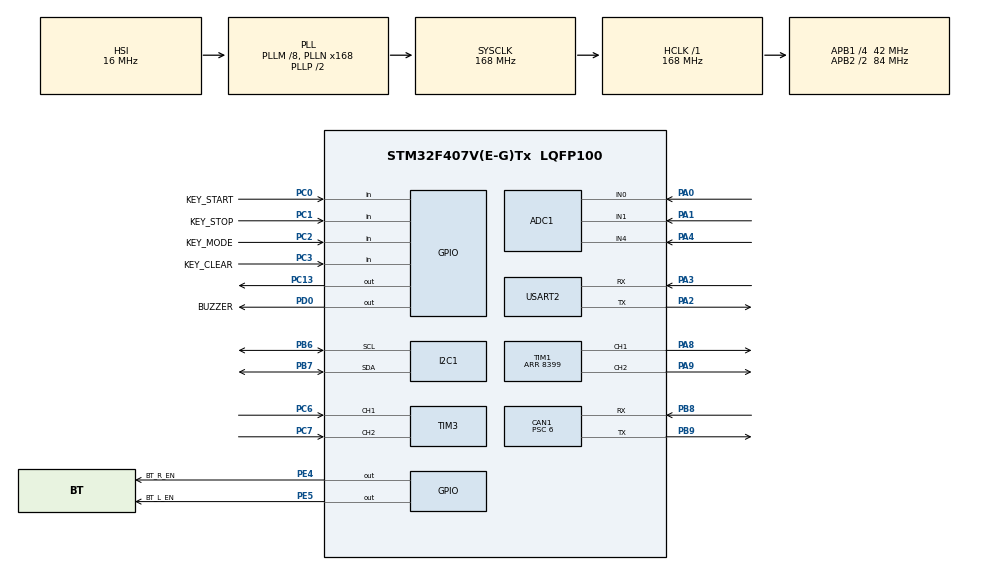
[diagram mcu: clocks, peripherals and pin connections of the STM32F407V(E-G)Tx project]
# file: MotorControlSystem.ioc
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ADC1.Channel-0\#ChannelRegularConversion=ADC_CHANNEL_0
ADC1.Channel-1\#ChannelRegularConversion=ADC_CHANNEL_1
ADC1.Channel-2\#ChannelRegularConversion=ADC_CHANNEL_4
ADC1.ContinuousConvMode=ENABLE
ADC1.DMAContinuousRequests=ENABLE
ADC1.NbrOfConversion=3
ADC1.NbrOfConversionFlag=1
ADC1.Rank-0\#ChannelRegularConversion=1
ADC1.Rank-1\#ChannelRegularConversion=2
ADC1.Rank-2\#ChannelRegularConversion=3
ADC1.SamplingTime-0\#ChannelRegularConversion=ADC_SAMPLETIME_84CYCLES
ADC1.SamplingTime-1\#ChannelRegularConversion=ADC_SAMPLETIME_84CYCLES
ADC1.SamplingTime-2\#ChannelRegularConversion=ADC_SAMPLETIME_84CYCLES
ADC1.ScanConvMode=ENABLE
ADC1.master=1
CAN1.ABOM=ENABLE
CAN1.BS1=CAN_BS1_11TQ
CAN1.BS2=CAN_BS2_2TQ
CAN1.CalculateBaudRate=500000
CAN1.CalculateTimeBit=2000
CAN1.CalculateTimeQuantum=142.85714285714286
CAN1.Mode=CAN_MODE_LOOPBACK
CAN1.NART=ENABLE
CAN1.Prescaler=6
Dma.ADC1.0.Direction=DMA_PERIPH_TO_MEMORY
Dma.ADC1.0.FIFOMode=DMA_FIFOMODE_ENABLE
Dma.ADC1.0.FIFOThreshold=DMA_FIFO_THRESHOLD_FULL
Dma.ADC1.0.Instance=DMA2_Stream0
Dma.ADC1.0.MemBurst=DMA_MBURST_SINGLE
Dma.ADC1.0.MemDataAlignment=DMA_MDATAALIGN_HALFWORD
Dma.ADC1.0.MemInc=DMA_MINC_ENABLE
Dma.ADC1.0.Mode=DMA_CIRCULAR
Dma.ADC1.0.PeriphBurst=DMA_PBURST_SINGLE
Dma.ADC1.0.PeriphDataAlignment=DMA_PDATAALIGN_HALFWORD
Dma.ADC1.0.PeriphInc=DMA_PINC_DISABLE
Dma.ADC1.0.Priority=DMA_PRIORITY_LOW
Dma.Request0=ADC1
Dma.Request1=USART2_RX
Dma.USART2_RX.1.Direction=DMA_PERIPH_TO_MEMORY
Dma.USART2_RX.1.FIFOMode=DMA_FIFOMODE_DISABLE
Dma.USART2_RX.1.Instance=DMA1_Stream5
Dma.USART2_RX.1.MemDataAlignment=DMA_MDATAALIGN_BYTE
Dma.USART2_RX.1.MemInc=DMA_MINC_ENABLE
Dma.USART2_RX.1.Mode=DMA_CIRCULAR
Dma.USART2_RX.1.PeriphDataAlignment=DMA_PDATAALIGN_BYTE
Dma.USART2_RX.1.PeriphInc=DMA_PINC_DISABLE
Dma.USART2_RX.1.Priority=DMA_PRIORITY_LOW
FREERTOS.Tasks01=MotorTask,40,512,StartMotorTask,Default,NULL,Dynamic,NULL,NULL;SensorTask,24,512,StartSensorTask,Default,NULL,Dynamic,NULL,NULL;CommTask,24,512,StartCommTask,Default,NULL,Dynamic,NULL,NULL;FaultTask,40,512,StartFaultTask,Default,NULL,Dynamic,NULL,NULL;DisplayTask,8,512,StartDisplayTask,Default,NULL,Dynamic,NULL,NULL;KeyTask,24,256,StartKeyTask,Default,NULL,Dynamic,NULL,NULL
FREERTOS.configUSE_PREEMPTION=1
I2C1.I2C_Mode=I2C_Fast
Mcu.Family=STM32F4
Mcu.Name=STM32F407V(E-G)Tx
Mcu.Package=LQFP100
NVIC.CAN1_RX0_IRQn=true\:5\:0\:false\:false\:true\:true\:true\:true\:true
NVIC.DMA1_Stream5_IRQn=true\:5\:0\:false\:false\:true\:true\:false\:true\:true
NVIC.DMA2_Stream0_IRQn=true\:5\:0\:false\:false\:true\:true\:false\:true\:true
NVIC.PriorityGroup=NVIC_PRIORITYGROUP_4
NVIC.TIM6_DAC_IRQn=true\:15\:0\:false\:false\:true\:false\:false\:true\:true
NVIC.TimeBase=TIM6_DAC_IRQn
NVIC.TimeBaseIP=TIM6
NVIC.USART2_IRQn=true\:5\:0\:false\:false\:true\:true\:true\:true\:true
PA0-WKUP.Signal=ADCx_IN0
PA1.Signal=ADCx_IN1
PA13.Mode=Serial_Wire
PA13.Signal=SYS_JTMS-SWDIO
PA14.Mode=Serial_Wire
PA14.Signal=SYS_JTCK-SWCLK
PA2.Mode=Asynchronous
PA2.Signal=USART2_TX
PA3.Mode=Asynchronous
PA3.Signal=USART2_RX
PA4.Signal=ADCx_IN4
PA8.Signal=S_TIM1_CH1
PA9.Signal=S_TIM1_CH2
PB6.Mode=I2C
PB6.Signal=I2C1_SCL
PB7.Mode=I2C
PB7.Signal=I2C1_SDA
PB8.Mode=CAN_Activate
PB8.Signal=CAN1_RX
PB9.Mode=CAN_Activate
PB9.Signal=CAN1_TX
PC0.GPIO_Label=KEY_START
PC0.GPIO_PuPd=GPIO_PULLUP
PC0.Signal=GPIO_Input
PC1.GPIO_Label=KEY_STOP 
PC1.GPIO_PuPd=GPIO_PULLUP
PC1.Signal=GPIO_Input
PC13-ANTI_TAMP.GPIO_PuPd=GPIO_NOPULL
PC13-ANTI_TAMP.Signal=GPIO_Output
PC2.GPIO_Label=KEY_MODE
PC2.GPIO_PuPd=GPIO_PULLUP
PC2.Signal=GPIO_Input
PC3.GPIO_Label=KEY_CLEAR
PC3.GPIO_PuPd=GPIO_PULLUP
PC3.Signal=GPIO_Input
PC6.GPIO_Speed=GPIO_SPEED_FREQ_HIGH
PC6.Signal=S_TIM3_CH1
PC7.GPIO_Speed=GPIO_SPEED_FREQ_HIGH
PC7.Signal=S_TIM3_CH2
PD0.GPIO_Label=BUZZER
PD0.PinState=GPIO_PIN_SET
PD0.Signal=GPIO_Output
PE4.GPIO_Label=BT_R_EN
PE4.Signal=GPIO_Output
PE5.GPIO_Label=BT_L_EN
PE5.Signal=GPIO_Output
PH0-OSC_IN.Mode=HSE-External-Oscillator
PH0-OSC_IN.Signal=RCC_OSC_IN
PH1-OSC_OUT.Mode=HSE-External-Oscillator
PH1-OSC_OUT.Signal=RCC_OSC_OUT
ProjectManager.HeapSize=0x200
ProjectManager.StackSize=0x400
ProjectManager.TargetToolchain=MDK-ARM V5.32
RCC.48MHZClocksFreq_Value=84000000
RCC.AHBFreq_Value=168000000
RCC.APB1CLKDivider=RCC_HCLK_DIV4
RCC.APB1Freq_Value=42000000
RCC.APB1TimFreq_Value=84000000
RCC.APB2CLKDivider=RCC_HCLK_DIV2
RCC.APB2Freq_Value=84000000
RCC.APB2TimFreq_Value=168000000
RCC.CortexFreq_Value=168000000
RCC.HCLKFreq_Value=168000000
RCC.HSE_VALUE=25000000
RCC.HSI_VALUE=16000000
RCC.LSE_VALUE=32768
RCC.PLLM=8
RCC.PLLN=168
RCC.SYSCLKFreq_VALUE=168000000
RCC.SYSCLKSource=RCC_SYSCLKSOURCE_PLLCLK
RCC.VCOOutputFreq_Value=336000000
SH.ADCx_IN0.0=ADC1_IN0,IN0
SH.ADCx_IN1.0=ADC1_IN1,IN1
SH.ADCx_IN4.0=ADC1_IN4,IN4
SH.S_TIM1_CH1.0=TIM1_CH1,PWM Generation1 CH1
SH.S_TIM1_CH2.0=TIM1_CH2,PWM Generation2 CH2
SH.S_TIM3_CH1.0=TIM3_CH1,Encoder_Interface
SH.S_TIM3_CH2.0=TIM3_CH2,Encoder_Interface
TIM1.AutoReloadPreload=TIM_AUTORELOAD_PRELOAD_ENABLE
TIM1.Channel-PWM\ Generation1\ CH1=TIM_CHANNEL_1
TIM1.Channel-PWM\ Generation2\ CH2=TIM_CHANNEL_2
TIM1.Period=8399
TIM3.AutoReloadPreload=TIM_AUTORELOAD_PRELOAD_ENABLE
TIM3.EncoderMode=TIM_ENCODERMODE_TI12
USART2.VirtualMode=VM_ASYNC
VP_FREERTOS_VS_CMSIS_V2.Mode=CMSIS_V2
VP_SYS_VS_tim6.Mode=TIM6
board=custom

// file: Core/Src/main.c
/* USER CODE BEGIN Header */
/**
  ******************************************************************************
  * @file           : main.c
  * @brief          : Main program body
  ******************************************************************************
  * @attention
  *
  * Copyright (c) 2026 STMicroelectronics.
  * All rights reserved.
  *
  * This software is licensed under terms that can be found in the LICENSE file
  * in the root directory of this software component.
  * If no LICENSE file comes with this software, it is provided AS-IS.
  *
  ******************************************************************************
  */
/* USER CODE END Header */
#include "main.h"
#include "cmsis_os.h"
#include "adc.h"
#include "can.h"
#include "dma.h"
#include "i2c.h"
#include "tim.h"
#include "usart.h"
#include "gpio.h"

/* USER CODE BEGIN Includes */
	extern volatile int16_t encoder_count;
/* USER CODE END Includes */

/* USER CODE BEGIN PV */
	volatile int16_t encoder_cnt = 0;
	volatile int16_t encoder_count = 0;
/* USER CODE END PV */

void SystemClock_Config(void);
void MX_FREERTOS_Init(void);

int main(void)
{

  /* MCU Configuration--------------------------------------------------------*/

  /* Reset of all peripherals, Initializes the Flash interface and the Systick. */
  HAL_Init();

  /* Configure the system clock */
  SystemClock_Config();

  /* Initialize all configured peripherals */
  MX_GPIO_Init();
  MX_DMA_Init();
  MX_ADC1_Init();
  MX_TIM1_Init();
  MX_TIM3_Init();
  MX_USART2_UART_Init();
  MX_CAN1_Init();
  MX_I2C1_Init();
  /* USER CODE BEGIN 2 */
	HAL_TIM_PWM_Start(&htim1, TIM_CHANNEL_1);
	HAL_TIM_PWM_Start(&htim1, TIM_CHANNEL_2);

	HAL_TIM_Encoder_Start(&htim3, TIM_CHANNEL_ALL);

	__HAL_TIM_SET_COUNTER(&htim3, 0);

	HAL_GPIO_WritePin(GPIOE, GPIO_PIN_4, GPIO_PIN_SET);
	HAL_GPIO_WritePin(GPIOE, GPIO_PIN_5, GPIO_PIN_SET);

	__HAL_TIM_SET_COMPARE(&htim1, TIM_CHANNEL_1, 0);
	__HAL_TIM_SET_COMPARE(&htim1, TIM_CHANNEL_2, 0);

	uint8_t test_msg[] = "MAIN USART2 TEST\r\n";

	HAL_UART_Transmit(&huart2,
										test_msg,
										sizeof(test_msg) - 1,
										1000);

  /* USER CODE END 2 */

  /* Init scheduler */
  osKernelInitialize();  /* Call init function for freertos objects (in cmsis_os2.c) */
  MX_FREERTOS_Init();

  /* Start scheduler */
  osKernelStart();

  /* We should never get here as control is now taken by the scheduler */

  /* Infinite loop */
  while (1)
  {

  }
}

void SystemClock_Config(void)
{
  RCC_OscInitTypeDef RCC_OscInitStruct = {0};
  RCC_ClkInitTypeDef RCC_ClkInitStruct = {0};

  /** Configure the main internal regulator output voltage
  */
  __HAL_RCC_PWR_CLK_ENABLE();
  __HAL_PWR_VOLTAGESCALING_CONFIG(PWR_REGULATOR_VOLTAGE_SCALE1);

  /** Initializes the RCC Oscillators according to the specified parameters
  * in the RCC_OscInitTypeDef structure.
  */
  RCC_OscInitStruct.OscillatorType = RCC_OSCILLATORTYPE_HSI;
  RCC_OscInitStruct.HSIState = RCC_HSI_ON;
  RCC_OscInitStruct.HSICalibrationValue = RCC_HSICALIBRATION_DEFAULT;
  RCC_OscInitStruct.PLL.PLLState = RCC_PLL_ON;
  RCC_OscInitStruct.PLL.PLLSource = RCC_PLLSOURCE_HSI;
  RCC_OscInitStruct.PLL.PLLM = 8;
  RCC_OscInitStruct.PLL.PLLN = 168;
  RCC_OscInitStruct.PLL.PLLP = RCC_PLLP_DIV2;
  RCC_OscInitStruct.PLL.PLLQ = 4;
  if (HAL_RCC_OscConfig(&RCC_OscInitStruct) != HAL_OK)
  {
    Error_Handler();
  }

  /** Initializes the CPU, AHB and APB buses clocks
  */
  RCC_ClkInitStruct.ClockType = RCC_CLOCKTYPE_HCLK|RCC_CLOCKTYPE_SYSCLK
                              |RCC_CLOCKTYPE_PCLK1|RCC_CLOCKTYPE_PCLK2;
  RCC_ClkInitStruct.SYSCLKSource = RCC_SYSCLKSOURCE_PLLCLK;
  RCC_ClkInitStruct.AHBCLKDivider = RCC_SYSCLK_DIV1;
  RCC_ClkInitStruct.APB1CLKDivider = RCC_HCLK_DIV4;
  RCC_ClkInitStruct.APB2CLKDivider = RCC_HCLK_DIV2;

  if (HAL_RCC_ClockConfig(&RCC_ClkInitStruct, FLASH_LATENCY_5) != HAL_OK)
  {
    Error_Handler();
  }
}

void HAL_TIM_PeriodElapsedCallback(TIM_HandleTypeDef *htim)
{
  if (htim->Instance == TIM6)
  {
    HAL_IncTick();
  }
}

void Error_Handler(void)
{
  __disable_irq();
  while (1)
  {
  }
}

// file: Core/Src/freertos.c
/* USER CODE BEGIN Header */
/**
  ******************************************************************************
  * 文件名             : freertos.c
  * 描述               : FreeRTOS 应用程序代码
  ******************************************************************************
  */
/* USER CODE END Header */

/* 包含头文件 ----------------------------------------------------------------*/
#include "FreeRTOS.h"
#include "task.h"
#include "main.h"
#include "cmsis_os.h"

/* 私有包含头文件 ------------------------------------------------------------*/
/* USER CODE BEGIN Includes */

#include "usart.h"

#include "flash_config.h"
#include "motor_status.h"
#include "motor_control.h"
#include "pi_controller.h"
#include "fault_manager.h"
#include "sensor_manager.h"
#include "can_manager.h"
#include "display_manager.h"
#include "encoder_manager.h"
#include "uart_manager.h"
#include "freertos_monitor.h"

#include "key_manager.h"
#include "buzzer_manager.h"

#include <stdio.h>
#include <string.h>

/* USER CODE END Includes */

/* 私有类型定义 --------------------------------------------------------------*/

/* 私有宏定义 ----------------------------------------------------------------*/

/* 私有宏 --------------------------------------------------------------------*/

/* 私有变量 ------------------------------------------------------------------*/
/* USER CODE BEGIN Variables */

extern UART_HandleTypeDef huart2;

PIController_t motor_pi;
MotorConfig_t motor_config;

/* USER CODE END Variables */

/* MotorTask 定义 */
osThreadId_t MotorTaskHandle;

const osThreadAttr_t MotorTask_attributes = {
  .name = "MotorTask",
  .stack_size = 512 * 4,
  .priority = (osPriority_t) osPriorityHigh,
};

/* SensorTask 定义 */
osThreadId_t SensorTaskHandle;

const osThreadAttr_t SensorTask_attributes = {
  .name = "SensorTask",
  .stack_size = 512 * 4,
  .priority = (osPriority_t) osPriorityNormal,
};

/* CommTask 定义 */
osThreadId_t CommTaskHandle;

const osThreadAttr_t CommTask_attributes = {
  .name = "CommTask",
  .stack_size = 768 * 4,
  .priority = (osPriority_t) osPriorityNormal,
};

/* FaultTask 定义 */
osThreadId_t FaultTaskHandle;

const osThreadAttr_t FaultTask_attributes = {
  .name = "FaultTask",
  .stack_size = 512 * 4,
  .priority = (osPriority_t) osPriorityHigh,
};

/* DisplayTask 定义 */
osThreadId_t DisplayTaskHandle;

const osThreadAttr_t DisplayTask_attributes = {
  .name = "DisplayTask",
  .stack_size = 512 * 4,
  .priority = (osPriority_t) osPriorityLow,
};

/* KeyTask 定义 */
osThreadId_t KeyTaskHandle;

const osThreadAttr_t KeyTask_attributes = {
  .name = "KeyTask",
  .stack_size = 256 * 4,
  .priority = (osPriority_t) osPriorityNormal,
};

/* 私有函数原型 --------------------------------------------------------------*/

void StartMotorTask(void *argument);
void StartSensorTask(void *argument);
void StartCommTask(void *argument);
void StartFaultTask(void *argument);
void StartDisplayTask(void *argument);
void StartKeyTask(void *argument);

void MX_FREERTOS_Init(void);

/**
  * @brief  FreeRTOS 初始化
  * @param  无
  * @retval 无
  */
void MX_FREERTOS_Init(void)
{

  /* USER CODE BEGIN RTOS_MUTEX */
  /* 添加互斥量等 */
  /* USER CODE END RTOS_MUTEX */

  /* USER CODE BEGIN RTOS_SEMAPHORES */
  /* 添加信号量等 */
  /* USER CODE END RTOS_SEMAPHORES */

  /* USER CODE BEGIN RTOS_TIMERS */
  /* 启动定时器、添加定时器等 */
  /* USER CODE END RTOS_TIMERS */

  /* USER CODE BEGIN RTOS_QUEUES */
  /* 添加队列等 */
  /* USER CODE END RTOS_QUEUES */

  /* 创建线程 */

  /* MotorTask */
  MotorTaskHandle =
      osThreadNew(StartMotorTask,
                  NULL,
                  &MotorTask_attributes);

  /* SensorTask */
  SensorTaskHandle =
      osThreadNew(StartSensorTask,
                  NULL,
                  &SensorTask_attributes);

  /* CommTask */
  CommTaskHandle =
      osThreadNew(StartCommTask,
                  NULL,
                  &CommTask_attributes);

  /* FaultTask */
  FaultTaskHandle =
      osThreadNew(StartFaultTask,
                  NULL,
                  &FaultTask_attributes);

  /* DisplayTask */
  DisplayTaskHandle =
      osThreadNew(StartDisplayTask,
                  NULL,
                  &DisplayTask_attributes);

  /* KeyTask */
  KeyTaskHandle =
      osThreadNew(StartKeyTask,
                  NULL,
                  &KeyTask_attributes);

  /* USER CODE BEGIN RTOS_THREADS */
  /* 添加线程等 */
  /* USER CODE END RTOS_THREADS */

  /* USER CODE BEGIN RTOS_EVENTS */
  /* 添加事件等 */
  /* USER CODE END RTOS_EVENTS */
}

/* USER CODE BEGIN Header_StartMotorTask */
/**
  * @brief 实现 MotorTask 线程的函数
  */
/* USER CODE END Header */

void StartMotorTask(void *argument)
{
  /* USER CODE BEGIN StartMotorTask */

  PI_Controller_Init(
      &motor_pi,
      20.0f,
      0.3f,
      2000.0f,
      4200.0f,
      -1000.0f,
      1000.0f
  );

  MotorControl_Init();

  motor_status.pwm = 0;

  for (;;)
  {
    /*
     * 有故障：
     * 立即停止电机
     */
    if (motor_status.fault != FAULT_NONE)
    {
      MotorControl_Stop();

      motor_status.pwm = 0;

      PI_Controller_Reset(&motor_pi);

      osDelay(100);

      continue;
    }

    /*
     * STOP 请求
     */
    if (motor_stop_request)
    {
      motor_stop_request = 0;
      motor_start_request = 0;

      motor_status.motor_running = 0;

      PI_Controller_Reset(&motor_pi);

      MotorControl_Stop();

      motor_status.pwm = 0;

      osDelay(100);

      continue;
    }

    /*
     * START 请求
     */
    if (motor_start_request)
    {
      motor_start_request = 0;
      motor_stop_request = 0;

      motor_status.motor_running = 1;

      if (motor_status.target_rpm <= 0.0f)
      {
        motor_status.target_rpm = 80.0f;
      }

      PI_Controller_Reset(&motor_pi);
    }

    /*
     * 电机没有运行
     */
    if (!motor_status.motor_running)
    {
      MotorControl_Stop();

      motor_status.pwm = 0;

      PI_Controller_Reset(&motor_pi);

      osDelay(100);

      continue;
    }

    /*
     * 编码器更新
     */
    EncoderManager_Update();

    /*
     * PI 控制
     */
    {
      float output;

      output = PI_Controller_Update(
          &motor_pi,
          motor_status.target_rpm,
          motor_status.actual_rpm,
          0.1f
      );

      motor_status.pwm = (uint16_t)output;

      MotorControl_SetPWM(motor_status.pwm);
    }

    osDelay(100);
  }

  /* USER CODE END StartMotorTask */
}

/* USER CODE BEGIN Header_StartSensorTask */
/**
* @brief 实现 SensorTask 线程的函数
*/
/* USER CODE END Header */

void StartSensorTask(void *argument)
{
  /* USER CODE BEGIN StartSensorTask */

  SensorManager_Init();

  osDelay(100);

  for (;;)
  {
    SensorManager_Update();

    UART_Manager_SendSensorDebug();

    osDelay(500);
  }

  /* USER CODE END StartSensorTask */
}

/* USER CODE BEGIN Header_StartCommTask */
/**
* @brief 实现 CommTask 线程的函数
*/
/* USER CODE END Header */

void StartCommTask(void *argument)
{
  /* USER CODE BEGIN StartCommTask */

  uint8_t can_status_timer = 0;
  uint8_t monitor_timer = 0;

  UART_Manager_Init();

  EncoderManager_Init();

  /*
   * 从 Flash 读取配置
   */
  Flash_ConfigLoad(&motor_config);

  motor_status.target_rpm =
      motor_config.target_rpm;

  /*
   * 输出 Flash 配置
   */
  {
    char flash_msg[128];

    snprintf(
        flash_msg,
        sizeof(flash_msg),

        "\r\n===== FLASH CONFIG =====\r\n"
        "Kp       : %.2f\r\n"
        "Ki       : %.2f\r\n"
        "Target   : %.2f RPM\r\n"
        "CRC      : 0x%08lX\r\n"
        "========================\r\n",

        motor_config.kp,
        motor_config.ki,
        motor_config.target_rpm,

        (unsigned long)motor_config.crc
    );

    UART_Manager_SendString(flash_msg);
  }

  /*
   * 启动 CAN
   */
  CAN1_Start();

  for (;;)
  {
    /*
     * UART GET_STATUS
     */
    if (UART_Manager_GetStatusRequest())
    {
      UART_Manager_SendStatus();
    }

    /*
     * UART 延迟回复
     */
    UART_Manager_ProcessPendingReplies();

    /*
     * CAN 接收处理
     */
    CAN1_ProcessRx();

    osDelay(100);

    can_status_timer++;
    monitor_timer++;

    /*
     * CAN 状态发送
     * 500 ms
     */
    if (can_status_timer >= 5)
    {
      can_status_timer = 0;

      CAN1_SendMotorStatus();
    }

    /*
     * FreeRTOS 监控
     * 5 s
     */
    if (monitor_timer >= 50)
    {
      monitor_timer = 0;

      FreeRTOS_Monitor_PrintTasks();

      FreeRTOS_Monitor_PrintCPU();
    }
  }

  /* USER CODE END StartCommTask */
}

/* USER CODE BEGIN Header_StartFaultTask */
/**
* @brief 实现 FaultTask 线程的函数
*/
/* USER CODE END Header */

void StartFaultTask(void *argument)
{
  /* USER CODE BEGIN StartFaultTask */

  FaultManager_Init();

  for (;;)
  {
    /*
     * UART CLEAR
     */
    if (uart_clear_request)
    {
      uart_clear_request = 0;

      if (FaultManager_Clear())
      {
        UART_Manager_SendFaultCleared();
      }
    }

    /*
     * 故障检测
     */
    FaultManager_Update();

    osDelay(100);
  }

  /* USER CODE END StartFaultTask */
}

/* USER CODE BEGIN Header_StartDisplayTask */
/**
* @brief 实现 DisplayTask 线程的函数
*/
/* USER CODE END Header */

void StartDisplayTask(void *argument)
{
  /* USER CODE BEGIN StartDisplayTask */

  DisplayManager_Init();

  for (;;)
  {
    DisplayManager_Update();

    osDelay(500);
  }

  /* USER CODE END StartDisplayTask */
}

/* USER CODE BEGIN Header_StartKeyTask */
/**
* @brief 实现 KeyTask 线程的函数
*/
/* USER CODE END Header */

void StartKeyTask(void *argument)
{
  /* USER CODE BEGIN StartKeyTask */

  KeyEvent_t event;

  KeyManager_Init();

  BuzzerManager_Init();

  for (;;)
  {
    event = KeyManager_Scan();

    switch (event)
    {
				case KEY_EVENT_START:

						motor_start_request = 1;

						BuzzerManager_StartBeep();

						break;

				case KEY_EVENT_STOP:

						motor_stop_request = 1;

						BuzzerManager_StopBeep();

						break;

				case KEY_EVENT_MODE:

						BuzzerManager_ModeBeep();

						break;

				case KEY_EVENT_CLEAR:

						uart_clear_request = 1;

						BuzzerManager_ClearBeep();

						break;

      default:

        break;
    }

    osDelay(10);
  }

  /* USER CODE END StartKeyTask */
}

/* 私有应用程序代码 ----------------------------------------------------------*/
/* USER CODE BEGIN Application */

/*
 * UART 接收完成回调
 */
void HAL_UART_RxCpltCallback(UART_HandleTypeDef *huart)
{
  UART_Manager_RxCpltCallback(huart);
}

/* USER CODE END Application */
